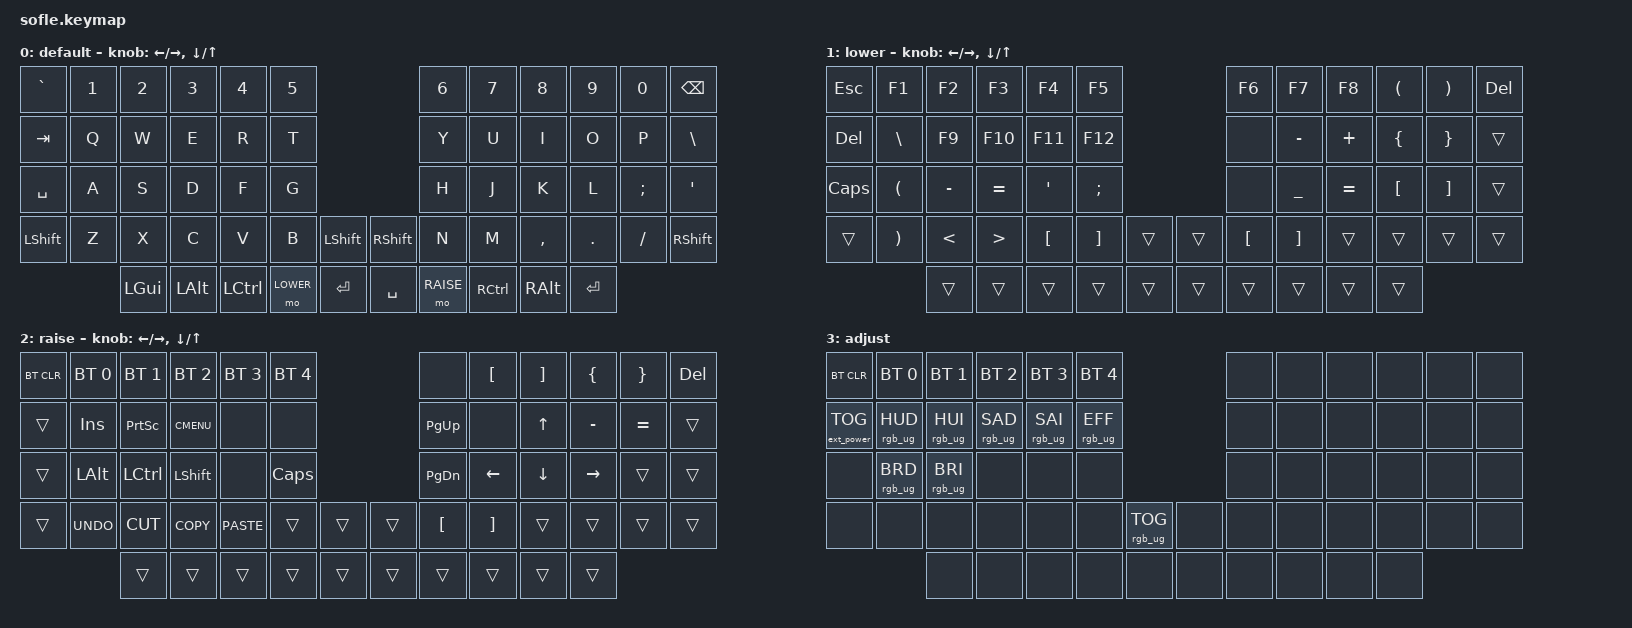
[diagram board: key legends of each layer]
/*
 * Copyright (c) 2020 The ZMK Contributors
 *
 * SPDX-License-Identifier: MIT
 */

#include <behaviors.dtsi>
#include <dt-bindings/zmk/bt.h>
#include <dt-bindings/zmk/ext_power.h>
#include <dt-bindings/zmk/keys.h>
#include <dt-bindings/zmk/rgb.h>

#define BASE 0
#define LOWER 1
#define RAISE 2
#define ADJUST 3

/ {
    // Activate ADJUST layer by pressing raise and lower

    conditional_layers {
        compatible = "zmk,conditional-layers";

        adjust_layer {
            if-layers = <LOWER RAISE>;
            then-layer = <ADJUST>;
        };
    };

    keymap {
        compatible = "zmk,keymap";

        default_layer {
            label = "default";

            // ------------------------------------------------------------------------------------------------------------
            // |   `   |  1  |  2  |  3   |  4   |  5   |                   |  6   |  7    |  8    |  9   |   0   | BKSPC |
            // |  TAB  |  Q  |  W  |  E   |  R   |  T   |                   |  Y   |  U    |  I    |  O   |   P   |   \   |
            // | SPACE |  A  |  S  |  D   |  F   |  G   |                   |  H   |  J    |  K    |  L   |   ;   |   '   |
            // | SHIFT |  Z  |  X  |  C   |  V   |  B   |  SHIFT |  | SHIFT |  N   |  M    |  ,    |  .   |   /   | SHIFT |
            //               | GUI | ALT  | CTRL | LOWER|  ENTER |  | SPACE | RAISE| CTRL  | ALT   | ENTER|

            bindings = <
&kp GRAVE  &kp N1  &kp N2    &kp N3    &kp N4     &kp N5                              &kp N6     &kp N7     &kp N8     &kp N9    &kp N0    &kp BSPC
&kp TAB    &kp Q   &kp W     &kp E     &kp R      &kp T                               &kp Y      &kp U      &kp I      &kp O     &kp P     &kp BSLH
&kp SPACE  &kp A   &kp S     &kp D     &kp F      &kp G                               &kp H      &kp J      &kp K      &kp L     &kp SEMI  &kp SQT
&kp LSHFT  &kp Z   &kp X     &kp C     &kp V      &kp B      &kp LSHFT     &kp RSHFT  &kp N      &kp M      &kp COMMA  &kp DOT   &kp FSLH  &kp RSHFT
                   &kp LGUI  &kp LALT  &kp LCTRL  &mo LOWER  &kp RET       &kp SPACE  &mo RAISE  &kp RCTRL  &kp RALT   &kp RET
            >;

            sensor-bindings = <&inc_dec_kp LEFT RIGHT &inc_dec_kp DOWN UP>;
        };

        lower_layer {
            label = "lower";

            // TODO: Some binds are waiting for shifted keycode support.
            // ------------------------------------------------------------------------------------------------------------
            // |  ESC  |  F1 |  F2 |  F3  |  F4  |  F5  |                   |  F6  |  F7   |  F8   |  (   |   )   |  DEL  |
            // |  DEL  |  \  |  F9 |  F10 |  F11 |  F12 |                   |      |  -    |  +    |  {   |   }   |   \   |
            // |  CAPS |  (  |  -  |  =   |  '   |  ;   |                   |      |  _    |  =    |  [   |   ]   |   '   |
            // |       |  )  |  <  |  >   |  [   |  ]   |        |  |       |   [  |  ]    |  ,    |  .   |   /   | SHIFT |
            //               |     |      |      |      |        |  |       |      |       |       |      |

            bindings = <
&kp ESC    &kp F1       &kp F2     &kp F3       &kp F4    &kp F5                       &kp F6     &kp F7      &kp F8           &kp LPAR     &kp RPAR  &kp DELETE
&kp DELETE &kp BSLH     &kp F9     &kp F10      &kp F11   &kp F12                      &none      &kp MINUS   &kp PLUS         &kp LBRC     &kp RBRC  &trans
&kp CLCK   &kp LPAR     &kp MINUS  &kp EQUAL    &kp SQT   &kp SEMI                     &none      &kp UNDER   &kp EQUAL        &kp LBKT     &kp RBKT  &trans
&trans     &kp RPAR     &kp LT     &kp GT       &kp LBKT  &kp RBKT   &trans    &trans  &kp LBKT   &kp RBKT    &trans           &trans       &trans    &trans
                        &trans     &trans       &trans    &trans     &trans    &trans  &trans     &trans      &trans           &trans
            >;

            sensor-bindings = <&inc_dec_kp LEFT RIGHT &inc_dec_kp DOWN UP>;
        };

        raise_layer {
            label = "raise";

            // ------------------------------------------------------------------------------------------------------------
            // | BTCLR | BT1  | BT2  |  BT3  |  BT4  |  BT5 |                |      |   [  |   ]   |  {   |   }   |  DEL  |
            // |       | INS  | PSCR | GUI   |       |      |                | PGUP |      |   ^   |  -   |   =   |   \   |
            // |       | ALT  | CTRL | SHIFT |       | CAPS |                | PGDN |   <- |   v   |  ->  |   ;   |   '   |
            // |       | UNDO | CUT  | COPY  | PASTE |      |      |  |      |  [   |   ]  |   ,   |  .   |   /   | SHIFT |
            //                |      |       |       |      |      |  |      |      |      |       |      |

            bindings = <
&bt BT_CLR  &bt BT_SEL 0  &bt BT_SEL 1  &bt BT_SEL 2  &bt BT_SEL 3  &bt BT_SEL 4                    &none      &kp LBKT  &kp RBKT  &kp LBRC   &kp RBRC   &kp DELETE
&trans      &kp INS       &kp PSCRN     &kp K_CMENU   &none         &none                           &kp PG_UP  &none     &kp UP    &kp MINUS  &kp EQUAL  &trans
&trans      &kp LALT      &kp LCTRL     &kp LSHFT     &none         &kp CLCK                        &kp PG_DN  &kp LEFT  &kp DOWN  &kp RIGHT  &trans     &trans    
&trans      &kp K_UNDO    &kp K_CUT     &kp K_COPY    &kp K_PASTE   &trans        &trans    &trans  &kp LBKT   &kp RBKT  &trans    &trans     &trans     &trans
                          &trans        &trans        &trans        &trans        &trans    &trans  &trans     &trans    &trans    &trans
            >;

            sensor-bindings = <&inc_dec_kp LEFT RIGHT &inc_dec_kp DOWN UP>;
        };

        adjust_layer {
            // ----------------------------------------------------------------------------------------------------------------------------
            // | BTCLR  |  BT1    |  BT2    |   BT3   |   BT4   |   BT5   |                  |      |      |       |      |       |       |
            // | EXTPWR | RGB_HUD | RGB_HUI | RGB_SAD | RGB_SAI | RGB_EFF |                  |      |      |       |      |       |       |
            // |        | RGB_BRD | RGB_BRI |         |         |         |                  |      |      |       |      |       |       |
            // |        |         |         |         |         |         | RGB_TOG | |      |      |      |       |      |       |       |
            //                    |         |         |         |         |         | |      |      |      |       |      |

            label = "adjust";
            bindings = <
&bt BT_CLR         &bt BT_SEL 0     &bt BT_SEL 1     &bt BT_SEL 2     &bt BT_SEL 3     &bt BT_SEL 4                               &none  &none  &none  &none  &none  &none
&ext_power EP_TOG  &rgb_ug RGB_HUD  &rgb_ug RGB_HUI  &rgb_ug RGB_SAD  &rgb_ug RGB_SAI  &rgb_ug RGB_EFF                            &none  &none  &none  &none  &none  &none
&none              &rgb_ug RGB_BRD  &rgb_ug RGB_BRI  &none            &none            &none                                      &none  &none  &none  &none  &none  &none
&none              &none            &none            &none            &none            &none            &rgb_ug RGB_TOG    &none  &none  &none  &none  &none  &none  &none
                                    &none            &none            &none            &none            &none              &none  &none  &none  &none  &none
            >;
        };
    };
};
